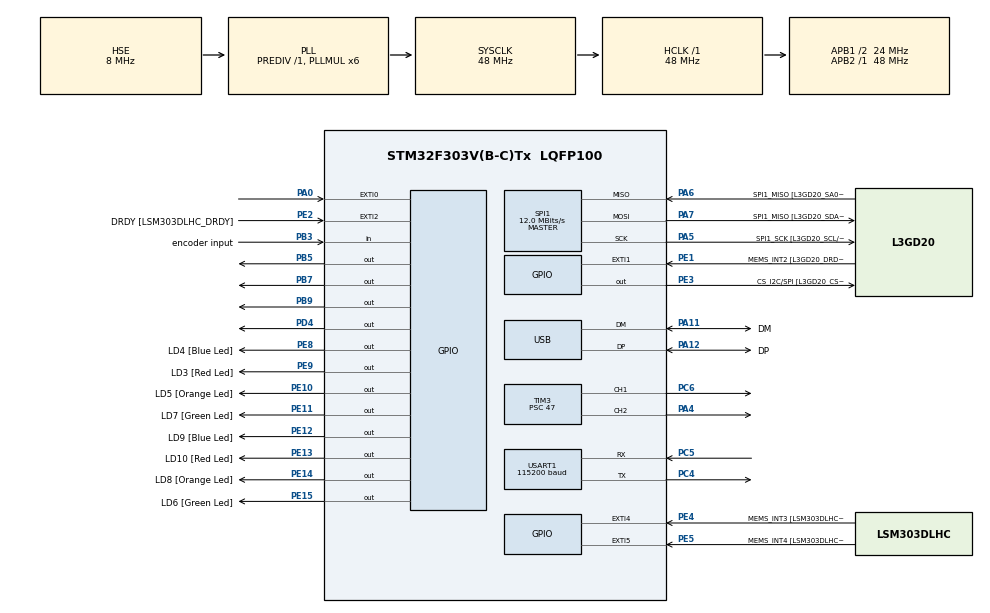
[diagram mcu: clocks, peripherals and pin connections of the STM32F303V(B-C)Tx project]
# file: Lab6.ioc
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Mcu.Family=STM32F3
Mcu.Name=STM32F303V(B-C)Tx
Mcu.Package=LQFP100
NVIC.EXTI0_IRQn=true\:0\:0\:false\:false\:true\:true\:true\:true
NVIC.PriorityGroup=NVIC_PRIORITYGROUP_0
PA0.GPIO_PuPd=GPIO_PULLDOWN
PA0.Signal=GPXTI0
PA11.GPIO_Label=DM
PA11.Mode=Device
PA11.Signal=USB_DM
PA12.GPIO_Label=DP
PA12.Mode=Device
PA12.Signal=USB_DP
PA13.GPIO_Label=SWDIO
PA13.Mode=Serial_Wire
PA13.Signal=SYS_JTMS-SWDIO
PA14.GPIO_Label=SWCLK
PA14.Mode=Serial_Wire
PA14.Signal=SYS_JTCK-SWCLK
PA4.Signal=S_TIM3_CH2
PA5.GPIO_Label=SPI1_SCK [L3GD20_SCL/SPC]
PA5.Mode=Full_Duplex_Master
PA5.Signal=SPI1_SCK
PA6.GPIO_Label=SPI1_MISO [L3GD20_SA0/SDO]
PA6.Mode=Full_Duplex_Master
PA6.Signal=SPI1_MISO
PA7.GPIO_Label=SPI1_MISO [L3GD20_SDA/SDI/SDO]
PA7.Mode=Full_Duplex_Master
PA7.Signal=SPI1_MOSI
PB3.GPIO_Label=encoder input
PB3.GPIO_PuPd=GPIO_PULLDOWN
PB3.Signal=GPIO_Input
PB5.Signal=GPIO_Output
PB7.Signal=GPIO_Output
PB9.Signal=GPIO_Output
PC14-OSC32_IN.GPIO_Label=OSC32_IN
PC14-OSC32_IN.Signal=RCC_OSC32_IN
PC15-OSC32_OUT.GPIO_Label=OSC32_OUT
PC15-OSC32_OUT.Signal=RCC_OSC32_OUT
PC4.Mode=Asynchronous
PC4.Signal=USART1_TX
PC5.Mode=Asynchronous
PC5.Signal=USART1_RX
PC6.Signal=S_TIM3_CH1
PD4.Signal=GPIO_Output
PE1.GPIO_Label=MEMS_INT2 [L3GD20_DRDY/INT2]
PE1.GPIO_ModeDefaultEXTI=GPIO_MODE_EVT_RISING
PE1.Signal=GPXTI1
PE10.GPIO_Label=LD5 [Orange Led]
PE10.Signal=GPIO_Output
PE11.GPIO_Label=LD7 [Green Led]
PE11.Signal=GPIO_Output
PE12.GPIO_Label=LD9 [Blue Led]
PE12.Signal=GPIO_Output
PE13.GPIO_Label=LD10 [Red Led]
PE13.Signal=GPIO_Output
PE14.GPIO_Label=LD8 [Orange Led]
PE14.Signal=GPIO_Output
PE15.GPIO_Label=LD6 [Green Led]
PE15.Signal=GPIO_Output
PE2.GPIO_Label=DRDY [LSM303DLHC_DRDY]
PE2.GPIO_ModeDefaultEXTI=GPIO_MODE_EVT_RISING
PE2.Signal=GPXTI2
PE3.GPIO_Label=CS_I2C/SPI [L3GD20_CS_I2C/SPI]
PE3.Signal=GPIO_Output
PE4.GPIO_Label=MEMS_INT3 [LSM303DLHC_INT1]
PE4.GPIO_ModeDefaultEXTI=GPIO_MODE_EVT_RISING
PE4.Signal=GPXTI4
PE5.GPIO_Label=MEMS_INT4 [LSM303DLHC_INT2]
PE5.GPIO_ModeDefaultEXTI=GPIO_MODE_EVT_RISING
PE5.Signal=GPXTI5
PE8.GPIO_Label=LD4 [Blue Led]
PE8.Signal=GPIO_Output
PE9.GPIO_Label=LD3 [Red Led]
PE9.Signal=GPIO_Output
PF0-OSC_IN.GPIO_Label=OSC_IN
PF0-OSC_IN.Mode=HSE-External-Clock-Source
PF0-OSC_IN.Signal=RCC_OSC_IN
PF1-OSC_OUT.GPIO_Label=OSC_OUT
PF1-OSC_OUT.Signal=RCC_OSC_OUT
ProjectManager.HeapSize=0x200
ProjectManager.StackSize=0x400
ProjectManager.TargetToolchain=CMake
RCC.AHBFreq_Value=48000000
RCC.APB1CLKDivider=RCC_HCLK_DIV2
RCC.APB1Freq_Value=24000000
RCC.APB1TimFreq_Value=48000000
RCC.APB2Freq_Value=48000000
RCC.APB2TimFreq_Value=48000000
RCC.CortexFreq_Value=48000000
RCC.HCLKFreq_Value=48000000
RCC.HSE_VALUE=8000000
RCC.HSI_VALUE=8000000
RCC.LSE_VALUE=32768
RCC.PLLMUL=RCC_PLL_MUL6
RCC.SYSCLKFreq_VALUE=48000000
RCC.SYSCLKSourceVirtual=RCC_SYSCLKSOURCE_PLLCLK
RCC.USBFreq_Value=48000000
SH.S_TIM3_CH1.0=TIM3_CH1,PWM Generation1 CH1
SH.S_TIM3_CH2.0=TIM3_CH2,PWM Generation2 CH2
SPI1.BaudRatePrescaler=SPI_BAUDRATEPRESCALER_4
SPI1.BaudRatePrescaler-Full_Duplex_Master=SPI_BAUDRATEPRESCALER_2
SPI1.CalculateBaudRate=12.0 MBits/s
SPI1.CalculateBaudRate-Full_Duplex_Master=24.0 MBits/s
SPI1.Direction=SPI_DIRECTION_2LINES
SPI1.Mode=SPI_MODE_MASTER
SPI1.Mode-Full_Duplex_Master=SPI_MODE_MASTER
SPI1.VirtualType=VM_MASTER
TIM2.Prescaler=47
TIM3.Channel-PWM\ Generation1\ CH1=TIM_CHANNEL_1
TIM3.Channel-PWM\ Generation2\ CH2=TIM_CHANNEL_2
TIM3.Period=999
TIM3.Prescaler=47
USART1.BaudRate=115200
USART1.VirtualMode-Asynchronous=VM_ASYNC
VP_TIM2_VS_ClockSourceINT.Mode=Internal
board=STM32F3DISCOVERY

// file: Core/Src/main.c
/* USER CODE BEGIN Header */
/**
  ******************************************************************************
  * @file           : main.c
  * @brief          : Main program body
  ******************************************************************************
  * @attention
  *
  * Copyright (c) 2026 STMicroelectronics.
  * All rights reserved.
  *
  * This software is licensed under terms that can be found in the LICENSE file
  * in the root directory of this software component.
  * If no LICENSE file comes with this software, it is provided AS-IS.
  *
  ******************************************************************************
  */
/* USER CODE END Header */
#include "main.h"
#include <stdio.h>

SPI_HandleTypeDef hspi1;

TIM_HandleTypeDef htim2;
TIM_HandleTypeDef htim3;

UART_HandleTypeDef huart1;

PCD_HandleTypeDef hpcd_USB_FS;

/* USER CODE BEGIN PV */
volatile uint8_t captureReady = 0;
volatile uint8_t sampleIndex = 0;
volatile uint32_t periods[10] = {0};
volatile uint32_t lastCapture = 0;
volatile uint8_t hasPrevCapture = 0;

/* USER CODE END PV */

void SystemClock_Config(void);
static void MX_GPIO_Init(void);
static void MX_SPI1_Init(void);
static void MX_TIM2_Init(void);
static void MX_USB_PCD_Init(void);
static void MX_USART1_UART_Init(void);
static void MX_TIM3_Init(void);
/* USER CODE BEGIN PFP */
void aagechal(int time, int dc);
void seedhehaath(int time, int dc);
void ultehaath(int time, int dc);
void peechehutt(int time, int dc);
void rukjao(void);
/* USER CODE END PFP */

/* USER CODE BEGIN 0 */
void aagechal(int time, int dc){
    __HAL_TIM_SET_COMPARE(&htim3, TIM_CHANNEL_1, dc);
    __HAL_TIM_SET_COMPARE(&htim3, TIM_CHANNEL_2, dc);
    HAL_GPIO_WritePin(GPIOB, GPIO_PIN_5, GPIO_PIN_SET);
    HAL_GPIO_WritePin(GPIOD, GPIO_PIN_4, GPIO_PIN_RESET);
    HAL_GPIO_WritePin(GPIOB, GPIO_PIN_7, GPIO_PIN_SET);
    HAL_GPIO_WritePin(GPIOB, GPIO_PIN_9, GPIO_PIN_RESET);
    if (time > 0) HAL_Delay(time);
}

void seedhehaath(int time, int dc){
    __HAL_TIM_SET_COMPARE(&htim3, TIM_CHANNEL_1, dc);
    __HAL_TIM_SET_COMPARE(&htim3, TIM_CHANNEL_2, dc);
    HAL_GPIO_WritePin(GPIOB, GPIO_PIN_5, GPIO_PIN_SET);
    HAL_GPIO_WritePin(GPIOD, GPIO_PIN_4, GPIO_PIN_RESET);
    HAL_GPIO_WritePin(GPIOB, GPIO_PIN_7, GPIO_PIN_RESET);
    HAL_GPIO_WritePin(GPIOB, GPIO_PIN_9, GPIO_PIN_SET);
    if (time > 0) HAL_Delay(time);
}

void ultehaath(int time, int dc){
    __HAL_TIM_SET_COMPARE(&htim3, TIM_CHANNEL_1, dc);
    __HAL_TIM_SET_COMPARE(&htim3, TIM_CHANNEL_2, dc);
    HAL_GPIO_WritePin(GPIOB, GPIO_PIN_5, GPIO_PIN_RESET);
    HAL_GPIO_WritePin(GPIOD, GPIO_PIN_4, GPIO_PIN_SET);
    HAL_GPIO_WritePin(GPIOB, GPIO_PIN_7, GPIO_PIN_SET);
    HAL_GPIO_WritePin(GPIOB, GPIO_PIN_9, GPIO_PIN_RESET);
    if (time > 0) HAL_Delay(time);
}

void peechehutt(int time, int dc){
    __HAL_TIM_SET_COMPARE(&htim3, TIM_CHANNEL_1, dc);
    __HAL_TIM_SET_COMPARE(&htim3, TIM_CHANNEL_2, dc);
    HAL_GPIO_WritePin(GPIOB, GPIO_PIN_5, GPIO_PIN_RESET);
    HAL_GPIO_WritePin(GPIOD, GPIO_PIN_4, GPIO_PIN_SET);
    HAL_GPIO_WritePin(GPIOB, GPIO_PIN_7, GPIO_PIN_RESET);
    HAL_GPIO_WritePin(GPIOB, GPIO_PIN_9, GPIO_PIN_SET);
    if (time > 0) HAL_Delay(time);
}

void rukjao(void) {
    __HAL_TIM_SET_COMPARE(&htim3, TIM_CHANNEL_1, 0);
    __HAL_TIM_SET_COMPARE(&htim3, TIM_CHANNEL_2, 0);
    HAL_GPIO_WritePin(GPIOB, GPIO_PIN_5, GPIO_PIN_RESET);
    HAL_GPIO_WritePin(GPIOD, GPIO_PIN_4, GPIO_PIN_RESET);
    HAL_GPIO_WritePin(GPIOB, GPIO_PIN_7, GPIO_PIN_RESET);
    HAL_GPIO_WritePin(GPIOB, GPIO_PIN_9, GPIO_PIN_RESET);
}

/* USER CODE END 0 */

int main(void)
{

  /* MCU Configuration--------------------------------------------------------*/

  /* Reset of all peripherals, Initializes the Flash interface and the Systick. */
  HAL_Init();

  /* Configure the system clock */
  SystemClock_Config();

  /* Initialize all configured peripherals */
  MX_GPIO_Init();
  MX_SPI1_Init();
  MX_TIM2_Init();
  MX_USB_PCD_Init();
  MX_USART1_UART_Init();
  MX_TIM3_Init();
  /* USER CODE BEGIN 2 */
  HAL_TIM_PWM_Start(&htim3, TIM_CHANNEL_1);
  HAL_TIM_PWM_Start(&htim3, TIM_CHANNEL_2);
  aagechal(0, 500);
  /* USER CODE END 2 */

  /* Infinite loop */
  while (1)
  {

    /* USER CODE BEGIN 3 */
    while (HAL_GPIO_ReadPin(GPIOB, GPIO_PIN_3) == GPIO_PIN_RESET);
    while (HAL_GPIO_ReadPin(GPIOB, GPIO_PIN_3) == GPIO_PIN_SET);

    __HAL_TIM_SET_COUNTER(&htim2, 0);
    HAL_TIM_Base_Start(&htim2);

    while (HAL_GPIO_ReadPin(GPIOB, GPIO_PIN_3) == GPIO_PIN_RESET);
    while (HAL_GPIO_ReadPin(GPIOB, GPIO_PIN_3) == GPIO_PIN_SET);

    uint32_t ticks = __HAL_TIM_GET_COUNTER(&htim2);
    HAL_TIM_Base_Stop(&htim2);

    uint32_t freq = 0;
    uint32_t rpm = 0;
    uint32_t ppr = 330;

    if (ticks > 0) {
        freq = 1000000 / ticks;
        rpm = (60 * freq) / ppr;
    }

    char msg[80];
    int len = snprintf(msg, sizeof(msg), "Ticks: %lu, Freq: %lu Hz, RPM: %lu\r\n", ticks, freq, rpm);
    HAL_UART_Transmit(&huart1, (uint8_t*)msg, len, HAL_MAX_DELAY);

    HAL_Delay(200);
  }
  /* USER CODE END 3 */
}

void SystemClock_Config(void)
{
  RCC_OscInitTypeDef RCC_OscInitStruct = {0};
  RCC_ClkInitTypeDef RCC_ClkInitStruct = {0};
  RCC_PeriphCLKInitTypeDef PeriphClkInit = {0};

  /** Initializes the RCC Oscillators according to the specified parameters
  * in the RCC_OscInitTypeDef structure.
  */
  RCC_OscInitStruct.OscillatorType = RCC_OSCILLATORTYPE_HSE;
  RCC_OscInitStruct.HSEState = RCC_HSE_BYPASS;
  RCC_OscInitStruct.HSEPredivValue = RCC_HSE_PREDIV_DIV1;
  RCC_OscInitStruct.HSIState = RCC_HSI_ON;
  RCC_OscInitStruct.PLL.PLLState = RCC_PLL_ON;
  RCC_OscInitStruct.PLL.PLLSource = RCC_PLLSOURCE_HSE;
  RCC_OscInitStruct.PLL.PLLMUL = RCC_PLL_MUL6;
  if (HAL_RCC_OscConfig(&RCC_OscInitStruct) != HAL_OK)
  {
    Error_Handler();
  }

  /** Initializes the CPU, AHB and APB buses clocks
  */
  RCC_ClkInitStruct.ClockType = RCC_CLOCKTYPE_HCLK|RCC_CLOCKTYPE_SYSCLK
                              |RCC_CLOCKTYPE_PCLK1|RCC_CLOCKTYPE_PCLK2;
  RCC_ClkInitStruct.SYSCLKSource = RCC_SYSCLKSOURCE_PLLCLK;
  RCC_ClkInitStruct.AHBCLKDivider = RCC_SYSCLK_DIV1;
  RCC_ClkInitStruct.APB1CLKDivider = RCC_HCLK_DIV2;
  RCC_ClkInitStruct.APB2CLKDivider = RCC_HCLK_DIV1;

  if (HAL_RCC_ClockConfig(&RCC_ClkInitStruct, FLASH_LATENCY_1) != HAL_OK)
  {
    Error_Handler();
  }
  PeriphClkInit.PeriphClockSelection = RCC_PERIPHCLK_USB|RCC_PERIPHCLK_USART1;
  PeriphClkInit.Usart1ClockSelection = RCC_USART1CLKSOURCE_PCLK2;
  PeriphClkInit.USBClockSelection = RCC_USBCLKSOURCE_PLL;
  if (HAL_RCCEx_PeriphCLKConfig(&PeriphClkInit) != HAL_OK)
  {
    Error_Handler();
  }
}

static void MX_SPI1_Init(void)
{

  /* SPI1 parameter configuration*/
  hspi1.Instance = SPI1;
  hspi1.Init.Mode = SPI_MODE_MASTER;
  hspi1.Init.Direction = SPI_DIRECTION_2LINES;
  hspi1.Init.DataSize = SPI_DATASIZE_4BIT;
  hspi1.Init.CLKPolarity = SPI_POLARITY_LOW;
  hspi1.Init.CLKPhase = SPI_PHASE_1EDGE;
  hspi1.Init.NSS = SPI_NSS_SOFT;
  hspi1.Init.BaudRatePrescaler = SPI_BAUDRATEPRESCALER_4;
  hspi1.Init.FirstBit = SPI_FIRSTBIT_MSB;
  hspi1.Init.TIMode = SPI_TIMODE_DISABLE;
  hspi1.Init.CRCCalculation = SPI_CRCCALCULATION_DISABLE;
  hspi1.Init.CRCPolynomial = 7;
  hspi1.Init.CRCLength = SPI_CRC_LENGTH_DATASIZE;
  hspi1.Init.NSSPMode = SPI_NSS_PULSE_ENABLE;
  if (HAL_SPI_Init(&hspi1) != HAL_OK)
  {
    Error_Handler();
  }

}

static void MX_TIM2_Init(void)
{

  TIM_ClockConfigTypeDef sClockSourceConfig = {0};
  TIM_MasterConfigTypeDef sMasterConfig = {0};

  htim2.Instance = TIM2;
  htim2.Init.Prescaler = 47;
  htim2.Init.CounterMode = TIM_COUNTERMODE_UP;
  htim2.Init.Period = 4294967295;
  htim2.Init.ClockDivision = TIM_CLOCKDIVISION_DIV1;
  htim2.Init.AutoReloadPreload = TIM_AUTORELOAD_PRELOAD_DISABLE;
  if (HAL_TIM_Base_Init(&htim2) != HAL_OK)
  {
    Error_Handler();
  }
  sClockSourceConfig.ClockSource = TIM_CLOCKSOURCE_INTERNAL;
  if (HAL_TIM_ConfigClockSource(&htim2, &sClockSourceConfig) != HAL_OK)
  {
    Error_Handler();
  }
  sMasterConfig.MasterOutputTrigger = TIM_TRGO_RESET;
  sMasterConfig.MasterSlaveMode = TIM_MASTERSLAVEMODE_DISABLE;
  if (HAL_TIMEx_MasterConfigSynchronization(&htim2, &sMasterConfig) != HAL_OK)
  {
    Error_Handler();
  }

}

static void MX_TIM3_Init(void)
{

  TIM_MasterConfigTypeDef sMasterConfig = {0};
  TIM_OC_InitTypeDef sConfigOC = {0};

  htim3.Instance = TIM3;
  htim3.Init.Prescaler = 47;
  htim3.Init.CounterMode = TIM_COUNTERMODE_UP;
  htim3.Init.Period = 999;
  htim3.Init.ClockDivision = TIM_CLOCKDIVISION_DIV1;
  htim3.Init.AutoReloadPreload = TIM_AUTORELOAD_PRELOAD_DISABLE;
  if (HAL_TIM_PWM_Init(&htim3) != HAL_OK)
  {
    Error_Handler();
  }
  sMasterConfig.MasterOutputTrigger = TIM_TRGO_RESET;
  sMasterConfig.MasterSlaveMode = TIM_MASTERSLAVEMODE_DISABLE;
  if (HAL_TIMEx_MasterConfigSynchronization(&htim3, &sMasterConfig) != HAL_OK)
  {
    Error_Handler();
  }
  sConfigOC.OCMode = TIM_OCMODE_PWM1;
  sConfigOC.Pulse = 0;
  sConfigOC.OCPolarity = TIM_OCPOLARITY_HIGH;
  sConfigOC.OCFastMode = TIM_OCFAST_DISABLE;
  if (HAL_TIM_PWM_ConfigChannel(&htim3, &sConfigOC, TIM_CHANNEL_1) != HAL_OK)
  {
    Error_Handler();
  }
  if (HAL_TIM_PWM_ConfigChannel(&htim3, &sConfigOC, TIM_CHANNEL_2) != HAL_OK)
  {
    Error_Handler();
  }
  HAL_TIM_MspPostInit(&htim3);

}

static void MX_USART1_UART_Init(void)
{

  huart1.Instance = USART1;
  huart1.Init.BaudRate = 115200;
  huart1.Init.WordLength = UART_WORDLENGTH_8B;
  huart1.Init.StopBits = UART_STOPBITS_1;
  huart1.Init.Parity = UART_PARITY_NONE;
  huart1.Init.Mode = UART_MODE_TX_RX;
  huart1.Init.HwFlowCtl = UART_HWCONTROL_NONE;
  huart1.Init.OverSampling = UART_OVERSAMPLING_16;
  huart1.Init.OneBitSampling = UART_ONE_BIT_SAMPLE_DISABLE;
  huart1.AdvancedInit.AdvFeatureInit = UART_ADVFEATURE_NO_INIT;
  if (HAL_UART_Init(&huart1) != HAL_OK)
  {
    Error_Handler();
  }

}

static void MX_USB_PCD_Init(void)
{

  hpcd_USB_FS.Instance = USB;
  hpcd_USB_FS.Init.dev_endpoints = 8;
  hpcd_USB_FS.Init.speed = PCD_SPEED_FULL;
  hpcd_USB_FS.Init.phy_itface = PCD_PHY_EMBEDDED;
  hpcd_USB_FS.Init.low_power_enable = DISABLE;
  hpcd_USB_FS.Init.battery_charging_enable = DISABLE;
  if (HAL_PCD_Init(&hpcd_USB_FS) != HAL_OK)
  {
    Error_Handler();
  }

}

static void MX_GPIO_Init(void)
{
  GPIO_InitTypeDef GPIO_InitStruct = {0};

  /* GPIO Ports Clock Enable */
  __HAL_RCC_GPIOE_CLK_ENABLE();
  __HAL_RCC_GPIOC_CLK_ENABLE();
  __HAL_RCC_GPIOF_CLK_ENABLE();
  __HAL_RCC_GPIOA_CLK_ENABLE();
  __HAL_RCC_GPIOD_CLK_ENABLE();
  __HAL_RCC_GPIOB_CLK_ENABLE();

  /*Configure GPIO pin Output Level */
  HAL_GPIO_WritePin(GPIOE, CS_I2C_SPI_Pin|LD4_Pin|LD3_Pin|LD5_Pin
                          |LD7_Pin|LD9_Pin|LD10_Pin|LD8_Pin
                          |LD6_Pin, GPIO_PIN_RESET);

  /*Configure GPIO pin Output Level */
  HAL_GPIO_WritePin(GPIOD, GPIO_PIN_4, GPIO_PIN_RESET);

  /*Configure GPIO pin Output Level */
  HAL_GPIO_WritePin(GPIOB, GPIO_PIN_5|GPIO_PIN_7|GPIO_PIN_9, GPIO_PIN_RESET);

  /*Configure GPIO pins : DRDY_Pin MEMS_INT3_Pin MEMS_INT4_Pin MEMS_INT2_Pin */
  GPIO_InitStruct.Pin = DRDY_Pin|MEMS_INT3_Pin|MEMS_INT4_Pin|MEMS_INT2_Pin;
  GPIO_InitStruct.Mode = GPIO_MODE_EVT_RISING;
  GPIO_InitStruct.Pull = GPIO_NOPULL;
  HAL_GPIO_Init(GPIOE, &GPIO_InitStruct);

  /*Configure GPIO pins : CS_I2C_SPI_Pin LD4_Pin LD3_Pin LD5_Pin
                           LD7_Pin LD9_Pin LD10_Pin LD8_Pin
                           LD6_Pin */
  GPIO_InitStruct.Pin = CS_I2C_SPI_Pin|LD4_Pin|LD3_Pin|LD5_Pin
                          |LD7_Pin|LD9_Pin|LD10_Pin|LD8_Pin
                          |LD6_Pin;
  GPIO_InitStruct.Mode = GPIO_MODE_OUTPUT_PP;
  GPIO_InitStruct.Pull = GPIO_NOPULL;
  GPIO_InitStruct.Speed = GPIO_SPEED_FREQ_LOW;
  HAL_GPIO_Init(GPIOE, &GPIO_InitStruct);

  /*Configure GPIO pin : PA0 */
  GPIO_InitStruct.Pin = GPIO_PIN_0;
  GPIO_InitStruct.Mode = GPIO_MODE_IT_RISING;
  GPIO_InitStruct.Pull = GPIO_PULLDOWN;
  HAL_GPIO_Init(GPIOA, &GPIO_InitStruct);

  /*Configure GPIO pin : PD4 */
  GPIO_InitStruct.Pin = GPIO_PIN_4;
  GPIO_InitStruct.Mode = GPIO_MODE_OUTPUT_PP;
  GPIO_InitStruct.Pull = GPIO_NOPULL;
  GPIO_InitStruct.Speed = GPIO_SPEED_FREQ_LOW;
  HAL_GPIO_Init(GPIOD, &GPIO_InitStruct);

  /*Configure GPIO pin : encoder_input_Pin */
  GPIO_InitStruct.Pin = encoder_input_Pin;
  GPIO_InitStruct.Mode = GPIO_MODE_INPUT;
  GPIO_InitStruct.Pull = GPIO_PULLDOWN;
  HAL_GPIO_Init(encoder_input_GPIO_Port, &GPIO_InitStruct);

  /*Configure GPIO pins : PB5 PB7 PB9 */
  GPIO_InitStruct.Pin = GPIO_PIN_5|GPIO_PIN_7|GPIO_PIN_9;
  GPIO_InitStruct.Mode = GPIO_MODE_OUTPUT_PP;
  GPIO_InitStruct.Pull = GPIO_NOPULL;
  GPIO_InitStruct.Speed = GPIO_SPEED_FREQ_LOW;
  HAL_GPIO_Init(GPIOB, &GPIO_InitStruct);

  /* EXTI interrupt init*/
  HAL_NVIC_SetPriority(EXTI0_IRQn, 0, 0);
  HAL_NVIC_EnableIRQ(EXTI0_IRQn);

}

void Error_Handler(void)
{
  __disable_irq();
  while (1)
  {
  }
}
